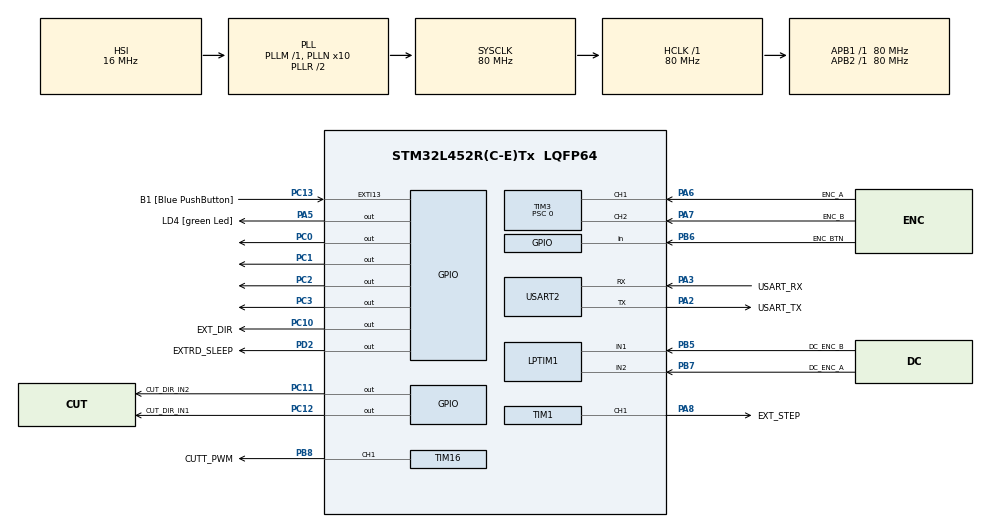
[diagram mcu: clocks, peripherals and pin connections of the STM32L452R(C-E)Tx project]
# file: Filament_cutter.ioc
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LPTIM1.ULPClockPolarity=LPTIM_CLOCKPOLARITY_RISING
LPTIM1.ULPClockSampleTime=LPTIM_CLOCKSAMPLETIME_DIRECTTRANSITION
LPTIM1.UpdateMode=LPTIM_UPDATE_IMMEDIATE
Mcu.Family=STM32L4
Mcu.Name=STM32L452R(C-E)Tx
Mcu.Package=LQFP64
NVIC.LPTIM1_IRQn=true\:0\:0\:false\:false\:true\:true\:true
NVIC.PriorityGroup=NVIC_PRIORITYGROUP_4
NVIC.TIM1_BRK_TIM15_IRQn=true\:0\:0\:false\:false\:true\:true\:true
NVIC.TIM1_CC_IRQn=true\:0\:0\:false\:false\:true\:true\:true
NVIC.TIM1_UP_TIM16_IRQn=true\:0\:0\:false\:false\:true\:true\:true
NVIC.TIM2_IRQn=true\:0\:0\:false\:false\:true\:true\:true
PA13\ (JTMS/SWDIO).GPIO_Label=TMS
PA13\ (JTMS/SWDIO).Mode=Trace_Asynchronous_SW
PA13\ (JTMS/SWDIO).Signal=SYS_JTMS-SWDIO
PA14\ (JTCK/SWCLK).GPIO_Label=TCK
PA14\ (JTCK/SWCLK).Mode=Trace_Asynchronous_SW
PA14\ (JTCK/SWCLK).Signal=SYS_JTCK-SWCLK
PA2.GPIO_Label=USART_TX
PA2.GPIO_Mode=GPIO_MODE_AF_PP
PA2.GPIO_PuPd=GPIO_NOPULL
PA2.GPIO_Speed=GPIO_SPEED_FREQ_VERY_HIGH
PA2.Mode=Asynchronous
PA2.Signal=USART2_TX
PA3.GPIO_Label=USART_RX
PA3.GPIO_Mode=GPIO_MODE_AF_PP
PA3.GPIO_PuPd=GPIO_NOPULL
PA3.GPIO_Speed=GPIO_SPEED_FREQ_VERY_HIGH
PA3.Mode=Asynchronous
PA3.Signal=USART2_RX
PA5.GPIO_Label=LD4 [green Led]
PA5.GPIO_ModeDefaultOutputPP=GPIO_MODE_OUTPUT_PP
PA5.GPIO_PuPd=GPIO_NOPULL
PA5.GPIO_Speed=GPIO_SPEED_FREQ_LOW
PA5.Signal=GPIO_Output
PA6.GPIO_Label=ENC_A
PA6.Signal=S_TIM3_CH1
PA7.GPIO_Label=ENC_B
PA7.Signal=S_TIM3_CH2
PA8.GPIO_Label=EXT_STEP
PA8.Signal=S_TIM1_CH1
PB3\ (JTDO/TRACESWO).GPIO_Label=SWO
PB3\ (JTDO/TRACESWO).Mode=Trace_Asynchronous_SW
PB3\ (JTDO/TRACESWO).Signal=SYS_JTDO-SWO
PB5.GPIO_Label=DC_ENC_B
PB5.Mode=Encoder_mode_occur1
PB5.Signal=LPTIM1_IN1
PB6.GPIO_Label=ENC_BTN
PB6.Signal=GPIO_Input
PB7.GPIO_Label=DC_ENC_A
PB7.Mode=Encoder_mode_occur1
PB7.Signal=LPTIM1_IN2
PB8.GPIO_Label=CUTT_PWM
PB8.Signal=S_TIM16_CH1
PC0.Signal=GPIO_Output
PC1.Signal=GPIO_Output
PC10.GPIO_Label=EXT_DIR
PC10.Signal=GPIO_Output
PC11.GPIO_Label=CUT_DIR_IN2
PC11.Signal=GPIO_Output
PC12.GPIO_Label=CUT_DIR_IN1
PC12.Signal=GPIO_Output
PC13.GPIO_Label=B1 [Blue PushButton]
PC13.GPIO_ModeDefaultEXTI=GPIO_MODE_IT_FALLING
PC13.GPIO_PuPd=GPIO_NOPULL
PC13.Signal=GPXTI13
PC14-OSC32_IN\ (PC14).Mode=LSE-External-Oscillator
PC14-OSC32_IN\ (PC14).Signal=RCC_OSC32_IN
PC15-OSC32_OUT\ (PC15).Mode=LSE-External-Oscillator
PC15-OSC32_OUT\ (PC15).Signal=RCC_OSC32_OUT
PC2.Signal=GPIO_Output
PC3.Signal=GPIO_Output
PD2.GPIO_Label=EXTRD_SLEEP
PD2.Signal=GPIO_Output
PH0-OSC_IN\ (PH0).Signal=RCC_OSC_IN
PH1-OSC_OUT\ (PH1).Signal=RCC_OSC_OUT
ProjectManager.HeapSize=0x200
ProjectManager.StackSize=0x400
ProjectManager.TargetToolchain=STM32CubeIDE
RCC.ADCFreq_Value=64000000
RCC.AHBFreq_Value=80000000
RCC.APB1Freq_Value=80000000
RCC.APB1TimFreq_Value=80000000
RCC.APB2Freq_Value=80000000
RCC.APB2TimFreq_Value=80000000
RCC.CortexFreq_Value=80000000
RCC.HCLKFreq_Value=80000000
RCC.HSE_VALUE=8000000
RCC.HSI48_VALUE=48000000
RCC.HSI_VALUE=16000000
RCC.MSI_VALUE=4000000
RCC.PLLN=10
RCC.PLLSourceVirtual=RCC_PLLSOURCE_HSI
RCC.PREFETCH_ENABLE=1
RCC.SYSCLKFreq_VALUE=80000000
RCC.SYSCLKSource=RCC_SYSCLKSOURCE_PLLCLK
RCC.USBFreq_Value=64000000
RCC.VCOOutputFreq_Value=160000000
SH.S_TIM16_CH1.0=TIM16_CH1,PWM Generation1 CH1
SH.S_TIM1_CH1.0=TIM1_CH1,PWM Generation1 CH1
SH.S_TIM3_CH1.0=TIM3_CH1,Encoder_Interface
SH.S_TIM3_CH2.0=TIM3_CH2,Encoder_Interface
TIM1.Channel-PWM\ Generation1\ CH1=TIM_CHANNEL_1
TIM1.Period=1000
TIM1.Prescaler=80
TIM1.Pulse-PWM\ Generation1\ CH1=500
TIM1.TIM_MasterOutputTrigger=TIM_TRGO_OC1REF
TIM1.TIM_MasterOutputTrigger2=TIM_TRGO2_OC1REF
TIM1.TIM_MasterSlaveMode=TIM_MASTERSLAVEMODE_ENABLE
TIM16.Channel=TIM_CHANNEL_1
TIM16.Period=99
TIM16.Prescaler=39999
TIM16.Pulse=99
TIM2.TIM_MasterSlaveMode=TIM_MASTERSLAVEMODE_DISABLE
TIM3.CounterMode=TIM_COUNTERMODE_UP
TIM3.EncoderMode=TIM_ENCODERMODE_TI12
TIM3.IC1Filter=15
TIM3.IC1Polarity=TIM_ICPOLARITY_RISING
TIM3.IC2Filter=15
TIM3.IC2Polarity=TIM_ICPOLARITY_FALLING
TIM3.Prescaler=0
TIM6.Prescaler=80
USART2.VirtualMode-Asynchronous=VM_ASYNC
VP_TIM16_VS_ClockSourceINT.Mode=Enable_Timer
VP_TIM1_VS_ClockSourceINT.Mode=Internal
VP_TIM2_VS_ClockSourceITR.Mode=TriggerSource_ITR0
VP_TIM2_VS_ControllerModeClock.Mode=Clock Mode
VP_TIM6_VS_ClockSourceINT.Mode=Enable_Timer
board=NUCLEO-L452RE

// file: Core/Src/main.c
/* USER CODE BEGIN Header */
/**
 ******************************************************************************
 * @file           : main.c
 * @brief          : Main program body
 ******************************************************************************
 * @attention
 *
 * <h2><center>&copy; Copyright (c) 2021 STMicroelectronics.
 * All rights reserved.</center></h2>
 *
 * This software component is licensed by ST under BSD 3-Clause license,
 * the "License"; You may not use this file except in compliance with the
 * License. You may obtain a copy of the License at:
 *                        opensource.org/licenses/BSD-3-Clause
 *
 ******************************************************************************
 */
/* USER CODE END Header */
#include "main.h"
#include "lptim.h"
#include "tim.h"
#include "usart.h"
#include "gpio.h"

/* USER CODE BEGIN Includes */
#include "delay.h"
#include "ST7920_SERIAL.h"
#include "stepper.h"
#include "encoder.h"
#include "stdio.h"
#include "menu_LCD.h"
#include "L298_dc.h"
#include "filament_cutter.h"
/* USER CODE END Includes */

/* USER CODE BEGIN PTD */
stepper_motor extruder = { 0 };
stepper_dir DIR = CW;

dc_motor DC_motor = { 0 };
cursor_position cursor_pos;
extern filament_cutter FC_struct;
filament_cutter_mode prev_mode;
/* USER CODE END PTD */

/* USER CODE BEGIN PV */

uint16_t message[32];
uint8_t length;
uint16_t enc_value = 0;
uint16_t DC_enc_value = 0;

/* USER CODE END PV */

void SystemClock_Config(void);

/* USER CODE BEGIN 0 */
int __io_putchar(int ch)
{
	ITM_SendChar(ch);
	return ch;
}
/* USER CODE END 0 */

int main(void)
{

  /* MCU Configuration--------------------------------------------------------*/

  /* Reset of all peripherals, Initializes the Flash interface and the Systick. */
  HAL_Init();

  /* Configure the system clock */
  SystemClock_Config();

  /* Initialize all configured peripherals */
  MX_GPIO_Init();
  MX_USART2_UART_Init();
  MX_TIM1_Init();
  MX_TIM2_Init();
  MX_TIM3_Init();
  MX_TIM6_Init();
  MX_TIM16_Init();
  MX_LPTIM1_Init();
  /* USER CODE BEGIN 2 */
  encoder_init(ENC_BTN_GPIO_Port, ENC_BTN_Pin, 20);
  delay_init();
  ST7920_Init();
  stepper_init(&extruder, &htim1, TIM_CHANNEL_1, &htim2, EXT_DIR_GPIO_Port,
  EXT_DIR_Pin);
  DC_motor_Init(&DC_motor, &htim16, TIM_CHANNEL_1, CUT_DIR_IN1_GPIO_Port,
  CUT_DIR_IN1_Pin, CUT_DIR_IN2_GPIO_Port, CUT_DIR_IN2_Pin, &hlptim1);
  Init_menu(&cursor_pos);
  Filament_Cutter_Init(&extruder, &DC_motor);

  /* USER CODE END 2 */

  /* Infinite loop */
  /* USER CODE BEGIN WHILE */

	while (1)
	{
		motors_update(&extruder, &DC_motor);
		ENC_Button_Action(&cursor_pos);
		menu_update(&cursor_pos);

    /* USER CODE END WHILE */

	}
}

void SystemClock_Config(void)
{
  RCC_OscInitTypeDef RCC_OscInitStruct = {0};
  RCC_ClkInitTypeDef RCC_ClkInitStruct = {0};

  /** Configure the main internal regulator output voltage
  */
  if (HAL_PWREx_ControlVoltageScaling(PWR_REGULATOR_VOLTAGE_SCALE1) != HAL_OK)
  {
    Error_Handler();
  }
  /** Initializes the RCC Oscillators according to the specified parameters
  * in the RCC_OscInitTypeDef structure.
  */
  RCC_OscInitStruct.OscillatorType = RCC_OSCILLATORTYPE_HSI;
  RCC_OscInitStruct.HSIState = RCC_HSI_ON;
  RCC_OscInitStruct.HSICalibrationValue = RCC_HSICALIBRATION_DEFAULT;
  RCC_OscInitStruct.PLL.PLLState = RCC_PLL_ON;
  RCC_OscInitStruct.PLL.PLLSource = RCC_PLLSOURCE_HSI;
  RCC_OscInitStruct.PLL.PLLM = 1;
  RCC_OscInitStruct.PLL.PLLN = 10;
  RCC_OscInitStruct.PLL.PLLP = RCC_PLLP_DIV7;
  RCC_OscInitStruct.PLL.PLLQ = RCC_PLLQ_DIV2;
  RCC_OscInitStruct.PLL.PLLR = RCC_PLLR_DIV2;
  if (HAL_RCC_OscConfig(&RCC_OscInitStruct) != HAL_OK)
  {
    Error_Handler();
  }
  /** Initializes the CPU, AHB and APB buses clocks
  */
  RCC_ClkInitStruct.ClockType = RCC_CLOCKTYPE_HCLK|RCC_CLOCKTYPE_SYSCLK
                              |RCC_CLOCKTYPE_PCLK1|RCC_CLOCKTYPE_PCLK2;
  RCC_ClkInitStruct.SYSCLKSource = RCC_SYSCLKSOURCE_PLLCLK;
  RCC_ClkInitStruct.AHBCLKDivider = RCC_SYSCLK_DIV1;
  RCC_ClkInitStruct.APB1CLKDivider = RCC_HCLK_DIV1;
  RCC_ClkInitStruct.APB2CLKDivider = RCC_HCLK_DIV1;

  if (HAL_RCC_ClockConfig(&RCC_ClkInitStruct, FLASH_LATENCY_4) != HAL_OK)
  {
    Error_Handler();
  }
}

/* USER CODE BEGIN 4 */
void HAL_LPTIM_AutoReloadMatchCallback(LPTIM_HandleTypeDef *hlptim)
{
	FC_struct.mode = STANDBY;
	CUTTING_PROCESS_FLAG = 0;
}

void HAL_TIM_PeriodElapsedCallback(TIM_HandleTypeDef *htim)
{
	if(FIRST_MISS_FLAG == 1)
	{
		if (htim->Instance == extruder.slave_timer.htim->Instance)
		{
			EXTRUDE_PROCESS_FLAG = 0;
			FC_struct.mode = CUTTING;
		}
	}
}

/* USER CODE END 4 */

void Error_Handler(void)
{
	__disable_irq();
	while (1) {
	}
}

/************************ (C) COPYRIGHT STMicroelectronics *****END OF FILE****/
